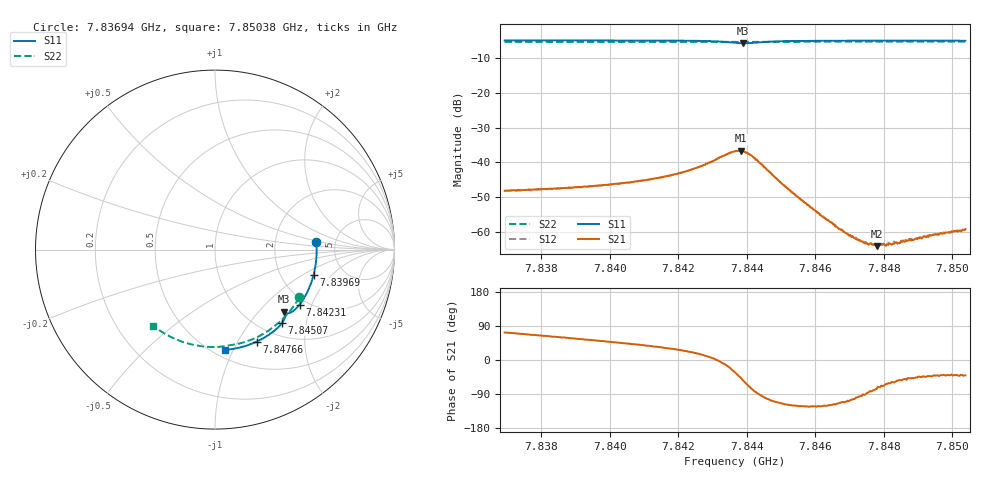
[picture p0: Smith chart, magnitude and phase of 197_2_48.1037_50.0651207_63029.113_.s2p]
#  HZ  S  RI  R  50.00
! Rohde & Schwarz Vector Network Analyzer
! Rohde-Schwarz,ZNB20-2Port,1311601062101988,3.16
! Created: UTC 12/23/2023, 3:54:22 AM
! freq[Hz]  re:S11  im:S11  re:S21  im:S21  re:S12  im:S12  re:S22  im:S22
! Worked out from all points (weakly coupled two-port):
!   401 points, 7.83694 GHz to 7.85038 GHz, reference 50 ohm
!   highest |S21| = -36.61 dB at 7.84383 GHz (marker M1); lowest = -64.1 dB at 7.84779 GHz (marker M2)
!   lowest |S11| = -5.7 dB at 7.84389 GHz (marker M3), VSWR 3.13, Z = 73.3 - j69.2 ohm
!   |S11| at or under -10 dB: nowhere
!   |S22| runs from -5.4 to -5.3 dB; largest |S21 - S12| = 0.00029
!   S11 on the Smith chart (normalised r, x): 7.83694 GHz: 3.56, +0.42; 7.83969 GHz: 3.03, -1.27; 7.84231 GHz: 1.83, -1.64; 7.84507 GHz: 1.25, -1.46; 7.84766 GHz: 0.80, -1.20; 7.85038 GHz: 0.57, -0.93
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7.836936e9  0.5648 0.04  0.00118 0.00375  0.00118 0.0037  0.4692 -0.266
7.839188e9  0.5563 -0.1092  0.00255 0.00365  0.00253 0.00361  0.3732 -0.3908
7.839693e9  0.5488 -0.1423  0.00295 0.00363  0.00292 0.00358  0.347 -0.4144
7.8406e9  0.5299 -0.2007  0.00381 0.0035  0.00377 0.00351  0.296 -0.4527
7.841441e9  0.5057 -0.2535  0.005 0.00338  0.00495 0.00339  0.2452 -0.4823
7.842315e9  0.4717 -0.3063  0.00713 0.00287  0.0071 0.0029  0.1888 -0.5072
7.843155e9  0.4232 -0.3496  0.0114 -0.000274  0.0114 -0.000277  0.1322 -0.524
7.843659e9  0.3877 -0.353  0.0122 -0.00781  0.0123 -0.00767  0.0985 -0.53
7.843828e9  0.3829 -0.348  0.01 -0.0109  0.00999 -0.0108  0.0877 -0.5317
7.843895e9  0.3829 -0.3462  0.00846 -0.0117  0.00848 -0.0116  0.0836 -0.5326
7.844097e9  0.3873 -0.3467  0.00407 -0.0123  0.0042 -0.0123  0.0708 -0.5351
7.844231e9  0.3907 -0.3518  0.00149 -0.0115  0.00167 -0.0114  0.062 -0.5365
7.845071e9  0.3747 -0.4068  -0.00205 -0.00428  -0.00205 -0.00434  0.00348 -0.5427
7.845912e9  0.333 -0.4504  -0.00116 -0.00186  -0.00118 -0.00187  -0.056 -0.5406
7.84692e9  0.2756 -0.4901  -0.00032 -0.000899  -0.000323 -0.000906  -0.126 -0.5295
7.847156e9  0.2617 -0.4979  -0.000181 -0.000795  -0.000171 -0.000791  -0.1419 -0.5255
7.847492e9  0.2416 -0.5083  1.68e-05 -0.000697  4.1e-05 -0.000711  -0.1648 -0.5191
7.84766e9  0.2312 -0.5131  9.19e-05 -0.000656  0.000126 -0.000645  -0.176 -0.5155
7.847794e9  0.2231 -0.5168  0.000147 -0.00061  0.000181 -0.000621  -0.1847 -0.5123
7.848164e9  0.2002 -0.5262  0.000326 -0.000606  0.000302 -0.000605  -0.2091 -0.5034
7.849677e9  0.1029 -0.5531  0.000741 -0.000622  0.00073 -0.000643  -0.303 -0.4541
7.850383e9  0.0563 -0.5594  0.000838 -0.000719  0.000808 -0.000721  -0.343 -0.4251
